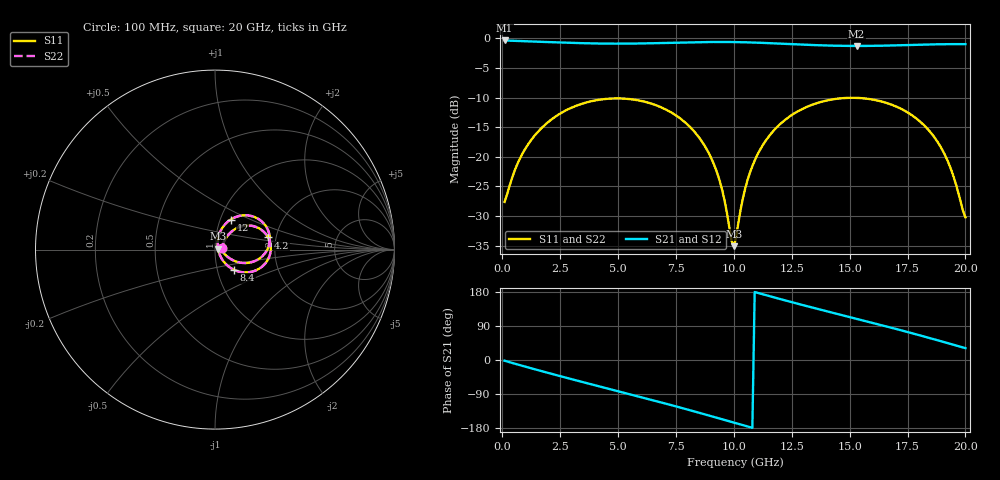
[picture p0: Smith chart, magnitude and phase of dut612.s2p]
! Touchstone file exported from HFSS 2026.1.0
!  File:  C:/ffzhzh/LocalFiles/Ansys_Project_Files/temp_train_TSV_RDL_612_1783123707_53076.aedt
!  Generated:  08:20:17 AM Jul  4, 2026
!  Design:  TSV_RDL
!  Project:  temp_train_TSV_RDL_612_1783123707_53076
! Variables:
!  h_bsmrdl = 2.41um
!  h_ox = 20um
!  h_rdl = 5um
!  h_sub = 85.25um
!  h_tmrdl = 3.11um
!  h_tsv = 85.25um
!  h_via = 3um
!  l_bsmrdl = 962.16um
!  l_sub = 5243.46um
!  l_tmrdl = 465.77um
!  m_sub = 200um
!  pitch = 28.35um
!  r_tsv = 9.64um
!  s_tmrdl = 10um
!  w_bsmrdl = 19.78um
!  w_sub = 500um
!  w_tmrdl = 11.52um
!  x_tsv_center1 = 471.53um
!  x_tsv_center2 = 1453.47um
!  x_tsv_center3 = 1930.76um
!  x_tsv_center4 = 2912.7um
!  x_tsv_center5 = 3389.99um
!  x_tsv_center6 = 4371.93um
# GHz S MA R 50.000000
! Terminal data exported
! Port[1] = TM_RDL1_1_T1
! Port[2] = TM_RDL5_1_T1
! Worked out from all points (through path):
!   200 points, 100 MHz to 20 GHz, reference 50 ohm
!   highest |S21| = -0.35 dB at 100 MHz (marker M1); lowest = -1.3 dB at 15.3 GHz (marker M2)
!   group delay of S21, straight-line fit = 45.4 ps
!   lowest |S11| = -35.1 dB at 10 GHz (marker M3), VSWR 1.04, Z = 51.7 + j0.48 ohm
!   |S11| at or under -10 dB: start of sweep to end of sweep
!   |S22| runs from -35.3 to -10.0 dB; largest |S21 - S12| = 1.6e-14
!   S11 on the Smith chart (normalised r, x): 100 MHz: 1.08, +0.02; 4.2 GHz: 1.81, +0.27; 8.4 GHz: 1.20, -0.28; 12 GHz: 1.12, +0.39; 20 GHz: 1.06, +0.02
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0.1  0.04161 16.0  0.9603 -1.9  0.9603 -1.9  0.04161 16.0
! Gamma 0 0 0 0
! Port Impedance 50 0 50 0
0.6  0.08231 45.5  0.9519 -10.8  0.9519 -10.8  0.08231 45.5
1.3  0.1431 47.0  0.9408 -22.7  0.9408 -22.7  0.1431 47.0
2.3  0.2189 37.8  0.9259 -39.4  0.9259 -39.4  0.2189 37.8
3.5  0.2828 22.5  0.9103 -58.7  0.9103 -58.7  0.2829 22.5
4.2  0.3035 12.9  0.9046 -69.8  0.9046 -69.8  0.3036 12.9
5.5  0.3072 -5.4  0.9032 -90.2  0.9032 -90.2  0.3073 -5.5
6.8  0.2649 -24.3  0.9129 -110.9  0.9129 -110.9  0.265 -24.3
8.4  0.1541 -46.8  0.929 -137.5  0.929 -137.5  0.1542 -47.0
9.3  0.07114 -53.9  0.9328 -153.0  0.9328 -153.0  0.07115 -54.3
10  0.01761 15.3  0.9308 -165.1  0.9308 -165.1  0.01711 15.0
10.1  0.02109 42.3  0.9302 -166.9  0.9302 -166.9  0.02061 42.7
10.4  0.04554 70.9  0.9276 -172.1  0.9276 -172.1  0.04522 71.4
10.8  0.08349 74.8  0.9229 -178.9  0.9229 -178.9  0.08325 75.2
12  0.189 62.3  0.9031 160.8  0.9031 160.8  0.1888 62.5
13.4  0.276 42.6  0.8785 138.2  0.8785 138.2  0.2759 42.7
15.3  0.3146 15.7  0.8631 108.7  0.8631 108.7  0.3145 15.8
16.7  0.2806 -3.8  0.8699 86.8  0.8699 86.8  0.2805 -3.8
17.9  0.2094 -20.1  0.8828 67.3  0.8828 67.3  0.2093 -20.0
18.8  0.1335 -29.7  0.8913 52.1  0.8913 52.1  0.1334 -29.6
19.4  0.07651 -29.4  0.8941 41.7  0.8941 41.7  0.07647 -29.3
20  0.03086 14.6  0.8935 31.3  0.8935 31.3  0.03094 14.8
